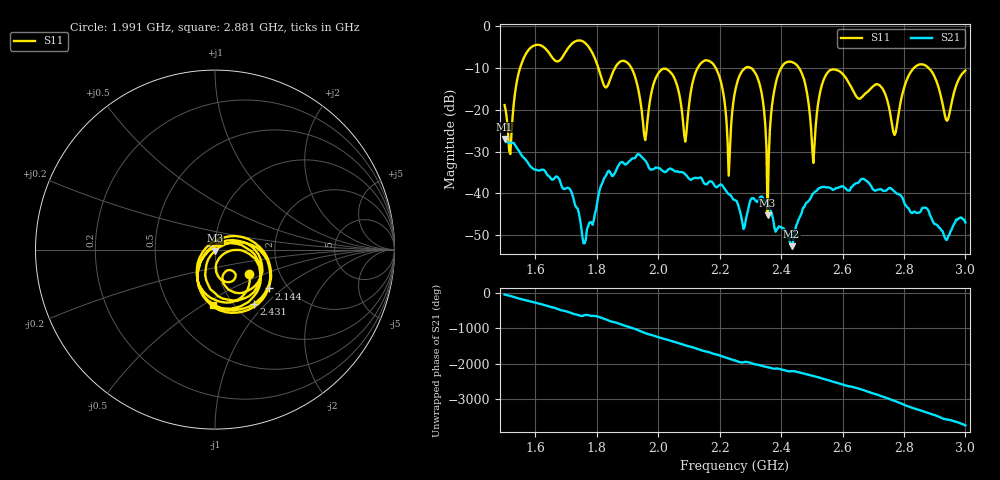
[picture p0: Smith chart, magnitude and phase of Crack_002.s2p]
# HZ S RI R 50
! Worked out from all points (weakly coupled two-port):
!   404 points, 1.5 GHz to 3 GHz, reference 50 ohm
!   highest |S21| = -27.02 dB at 1.5 GHz (marker M1); lowest = -52.6 dB at 2.434 GHz (marker M2)
!   lowest |S11| = -45.3 dB at 2.356 GHz (marker M3), VSWR 1.01, Z = 50 - j0.545 ohm
!   |S11| at or under -10 dB: 1.912 GHz to 2.129 GHz (217 MHz wide, 10.7 % of centre); 2.458 GHz to 2.834 GHz (376 MHz wide, 14.2 % of centre); 2.879 GHz to end of sweep (the widest 3 of 7)
!   S12 and S22 are empty: the file has one direction only
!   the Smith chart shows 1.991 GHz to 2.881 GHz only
!   S11 on the Smith chart (normalised r, x): 1.991 GHz: 1.40, -0.40; 2.144 GHz: 1.60, -0.80; 2.431 GHz: 1.22, -0.86; 2.881 GHz: 0.81, -0.56
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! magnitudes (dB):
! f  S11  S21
! 1.5 GHz  -18.9  -27.0
! 1.519 GHz  -30.6  -28.0
! 1.586 GHz  -5.2  -33.7
! 1.753 GHz  -3.7  -50.3
! 1.906 GHz  -9.3  -32.3
! 1.958 GHz  -27.3  -32.1
! 1.991 GHz  -12.6  -33.8
! 2.002 GHz  -11.1  -34.0
! 2.088 GHz  -27.7  -35.5
! 2.144 GHz  -8.7  -36.8
! 2.23 GHz  -35.8  -40.2
! 2.252 GHz  -15.1  -41.7
! 2.319 GHz  -11.7  -41.8
! 2.356 GHz  -45.3  -43.0
! 2.431 GHz  -8.6  -52.0
! 2.434 GHz  -8.6  -52.6
! 2.501 GHz  -29.0  -40.3
! 2.565 GHz  -10.5  -38.9
! 2.751 GHz  -19.2  -38.8
! 2.881 GHz  -10.1  -44.3
! 2.94 GHz  -22.7  -51.0
! 3 GHz  -10.7  -46.9
